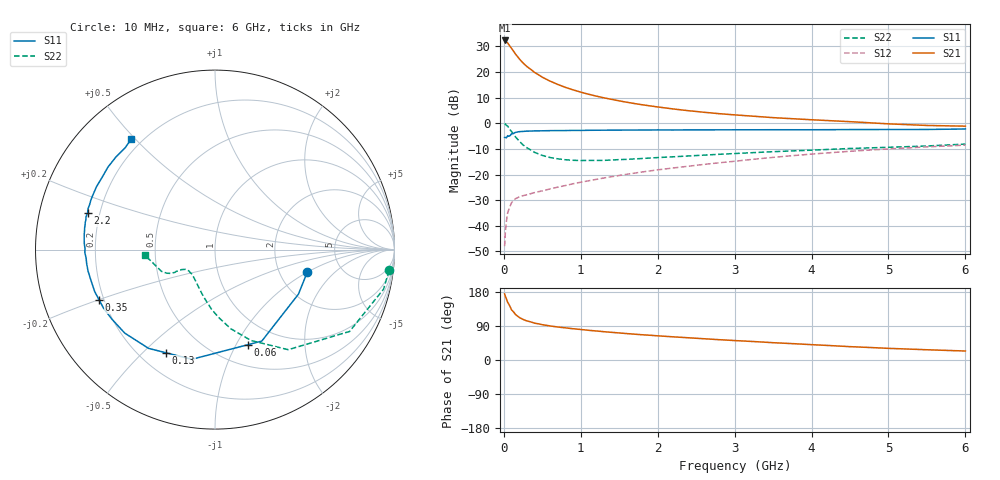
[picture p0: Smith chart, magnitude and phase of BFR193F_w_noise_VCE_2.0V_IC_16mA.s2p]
! Infineon Technologies  Discrete & RF Semiconductors
! BFR193F
! VCE =  2.0 V,  IC =  16 mA
! Common Emitter S-Parameters:  Jan 2017
# GHz  S  MA  R  50
!  f  S11  S21  S12  S22
! GHz  MAG  ANG  MAG  ANG  MAG  ANG  MAG  ANG
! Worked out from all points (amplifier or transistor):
!   77 points, 10 MHz to 6 GHz, reference 50 ohm
!   highest |S21| = 32.3 dB at 10 MHz (marker M1)
!   |S21| within 3 dB of that: start of sweep to 98.12 MHz
!   unconditionally stable (mu >= 1): 1.305 GHz to 2.905 GHz
!   at 130 MHz: K = 0.26, MSG = 29.0 dB, |S12| = -30.1 dB
!   at 2.2 GHz: K = 1.04, MAG = 10.3 dB, |S12| = -17.5 dB
!   at 6 GHz: K = 0.86, MSG = 3.7 dB, |S12| = -8.5 dB
!   lowest NFmin = 0.97 dB at 450 MHz
!   S11 on the Smith chart (normalised r, x): 10 MHz: 2.87, -0.99; 60 MHz: 0.72, -1.12; 130 MHz: 0.30, -0.59; 350 MHz: 0.18, -0.20; 2.2 GHz: 0.15, +0.14; 6 GHz: 0.16, +0.49
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0.01  0.5296 -13.6  41.21 174.4  0.004 82.0  0.9771 -6.8
0.02  0.527 -28.1  40.35 168.0  0.0076 77.6  0.9646 -13.2
0.05  0.5725 -62.9  36.91 152.0  0.0179 68.4  0.8778 -31.3
0.06  0.5606 -71.0  35.03 148.8  0.0198 64.0  0.8316 -34.9
0.1  0.6246 -101.9  28.94 132.3  0.0281 52.6  0.6911 -53.8
0.13  0.6365 -115.4  24.97 125.9  0.0314 48.0  0.5984 -61.7
0.15  0.6632 -123.9  22.54 120.4  0.0337 45.4  0.5447 -68.4
0.2  0.685 -137.2  18.11 112.4  0.0366 42.4  0.449 -78.8
0.25  0.6931 -146.1  14.97 107.0  0.0386 42.2  0.3779 -87.0
0.3  0.7015 -152.3  12.76 103.1  0.0403 41.2  0.3324 -93.4
0.35  0.7038 -156.6  11.26 100.5  0.0423 42.6  0.3002 -98.0
0.4  0.7099 -160.8  9.78 97.2  0.0444 43.8  0.2703 -103.6
0.5  0.7123 -166.3  7.912 93.2  0.048 46.1  0.2359 -111.5
0.6  0.7173 -170.4  6.646 89.9  0.0523 49.0  0.2144 -118.0
0.8  0.7196 -176.2  5.016 84.8  0.0609 53.9  0.1941 -128.0
1.1  0.7287 177.6  3.685 78.4  0.0754 59.0  0.1883 -137.3
2.1  0.7401 164.9  1.989 62.5  0.1286 66.4  0.2177 -149.1
2.2  0.7388 163.9  1.9 61.1  0.134 66.7  0.2215 -149.3
3.1  0.7452 155.7  1.421 50.3  0.1882 67.7  0.2608 -150.7
4.1  0.7476 146.3  1.15 39.5  0.2567 65.0  0.303 -154.7
5.1  0.7552 135.8  0.959 30.0  0.3214 59.9  0.3435 -165.1
6  0.7732 127.0  0.877 23.7  0.3741 54.6  0.3925 -175.4
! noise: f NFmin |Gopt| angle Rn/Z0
0.45  0.97  0.28  157  0.06
0.9  1.06  0.38  161  0.06
1.9  1.7  0.58  -173  0.06
2.4  2  0.61  -163  0.09
